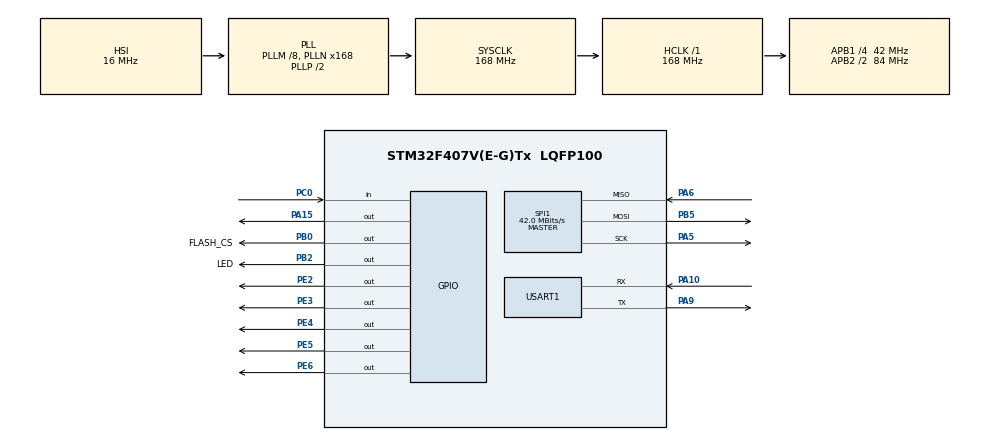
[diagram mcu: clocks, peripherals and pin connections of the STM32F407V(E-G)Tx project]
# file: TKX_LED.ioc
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FREERTOS.Tasks01=defaultTask,24,128,StartDefaultTask,Default,NULL,Dynamic,NULL,NULL
Mcu.Family=STM32F4
Mcu.Name=STM32F407V(E-G)Tx
Mcu.Package=LQFP100
NVIC.PriorityGroup=NVIC_PRIORITYGROUP_4
PA10.Mode=Asynchronous
PA10.Signal=USART1_RX
PA13.Mode=Serial_Wire
PA13.Signal=SYS_JTMS-SWDIO
PA14.Mode=Serial_Wire
PA14.Signal=SYS_JTCK-SWCLK
PA15.Signal=GPIO_Output
PA5.Mode=Full_Duplex_Master
PA5.Signal=SPI1_SCK
PA6.Mode=Full_Duplex_Master
PA6.Signal=SPI1_MISO
PA9.Mode=Asynchronous
PA9.Signal=USART1_TX
PB0.GPIO_Label=FLASH_CS
PB0.Signal=GPIO_Output
PB2.GPIO_Label=LED
PB2.GPIO_Speed=GPIO_SPEED_FREQ_LOW
PB2.PinState=GPIO_PIN_RESET
PB2.Signal=GPIO_Output
PB5.Mode=Full_Duplex_Master
PB5.Signal=SPI1_MOSI
PC0.Signal=GPIO_Input
PE2.GPIO_Speed=GPIO_SPEED_FREQ_VERY_HIGH
PE2.Signal=GPIO_Output
PE3.GPIO_Speed=GPIO_SPEED_FREQ_VERY_HIGH
PE3.Signal=GPIO_Output
PE4.GPIO_Speed=GPIO_SPEED_FREQ_VERY_HIGH
PE4.Signal=GPIO_Output
PE5.GPIO_Speed=GPIO_SPEED_FREQ_VERY_HIGH
PE5.Signal=GPIO_Output
PE6.GPIO_Speed=GPIO_SPEED_FREQ_VERY_HIGH
PE6.Signal=GPIO_Output
PH0-OSC_IN.Mode=HSE-External-Oscillator
PH0-OSC_IN.Signal=RCC_OSC_IN
PH1-OSC_OUT.Mode=HSE-External-Oscillator
PH1-OSC_OUT.Signal=RCC_OSC_OUT
ProjectManager.HeapSize=0x200
ProjectManager.StackSize=0x400
ProjectManager.TargetToolchain=MDK-ARM V5.32
RCC.48MHZClocksFreq_Value=84000000
RCC.AHBFreq_Value=168000000
RCC.APB1CLKDivider=RCC_HCLK_DIV4
RCC.APB1Freq_Value=42000000
RCC.APB1TimFreq_Value=84000000
RCC.APB2CLKDivider=RCC_HCLK_DIV2
RCC.APB2Freq_Value=84000000
RCC.APB2TimFreq_Value=168000000
RCC.CortexFreq_Value=168000000
RCC.HCLKFreq_Value=168000000
RCC.HSE_VALUE=8000000
RCC.HSI_VALUE=16000000
RCC.LSE_VALUE=32768
RCC.PLLM=8
RCC.PLLN=168
RCC.SYSCLKFreq_VALUE=168000000
RCC.SYSCLKSource=RCC_SYSCLKSOURCE_PLLCLK
RCC.VCOOutputFreq_Value=336000000
SPI1.CalculateBaudRate=42.0 MBits/s
SPI1.Direction=SPI_DIRECTION_2LINES
SPI1.Mode=SPI_MODE_MASTER
SPI1.VirtualType=VM_MASTER
USART1.VirtualMode=VM_ASYNC
VP_FREERTOS_VS_CMSIS_V2.Mode=CMSIS_V2
board=custom

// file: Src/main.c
/* USER CODE BEGIN Header */
/**
  ******************************************************************************
  * @file           : main.c
  * @brief          : Main program body
  ******************************************************************************
  * @attention
  *
  * Copyright (c) 2025 STMicroelectronics.
  * All rights reserved.
  *
  * This software is licensed under terms that can be found in the LICENSE file
  * in the root directory of this software component.
  * If no LICENSE file comes with this software, it is provided AS-IS.
  *
  ******************************************************************************
  */
/* USER CODE END Header */
#include "main.h"
#include "cmsis_os.h"
#include "spi.h"
#include "usart.h"
#include "gpio.h"

void SystemClock_Config(void);
void MX_FREERTOS_Init(void);

int main(void)
{

  /* MCU Configuration--------------------------------------------------------*/

  /* Reset of all peripherals, Initializes the Flash interface and the Systick. */
  HAL_Init();

  /* Configure the system clock */
  SystemClock_Config();

  /* Initialize all configured peripherals */
  MX_GPIO_Init();
  MX_USART1_UART_Init();
  MX_SPI1_Init();

  /* Init scheduler */
  osKernelInitialize();

  /* Call init function for freertos objects (in cmsis_os2.c) */
  MX_FREERTOS_Init();

  /* Start scheduler */
  osKernelStart();

  /* We should never get here as control is now taken by the scheduler */

  /* Infinite loop */
  while (1)
  {

  }
}

void SystemClock_Config(void)
{
  RCC_OscInitTypeDef RCC_OscInitStruct = {0};
  RCC_ClkInitTypeDef RCC_ClkInitStruct = {0};

  /** Configure the main internal regulator output voltage
  */
  __HAL_RCC_PWR_CLK_ENABLE();
  __HAL_PWR_VOLTAGESCALING_CONFIG(PWR_REGULATOR_VOLTAGE_SCALE1);

  /** Initializes the RCC Oscillators according to the specified parameters
  * in the RCC_OscInitTypeDef structure.
  */
  RCC_OscInitStruct.OscillatorType = RCC_OSCILLATORTYPE_HSI;
  RCC_OscInitStruct.HSIState = RCC_HSI_ON;
  RCC_OscInitStruct.HSICalibrationValue = RCC_HSICALIBRATION_DEFAULT;
  RCC_OscInitStruct.PLL.PLLState = RCC_PLL_ON;
  RCC_OscInitStruct.PLL.PLLSource = RCC_PLLSOURCE_HSI;
  RCC_OscInitStruct.PLL.PLLM = 8;
  RCC_OscInitStruct.PLL.PLLN = 168;
  RCC_OscInitStruct.PLL.PLLP = RCC_PLLP_DIV2;
  RCC_OscInitStruct.PLL.PLLQ = 4;
  if (HAL_RCC_OscConfig(&RCC_OscInitStruct) != HAL_OK)
  {
    Error_Handler();
  }

  /** Initializes the CPU, AHB and APB buses clocks
  */
  RCC_ClkInitStruct.ClockType = RCC_CLOCKTYPE_HCLK|RCC_CLOCKTYPE_SYSCLK
                              |RCC_CLOCKTYPE_PCLK1|RCC_CLOCKTYPE_PCLK2;
  RCC_ClkInitStruct.SYSCLKSource = RCC_SYSCLKSOURCE_PLLCLK;
  RCC_ClkInitStruct.AHBCLKDivider = RCC_SYSCLK_DIV1;
  RCC_ClkInitStruct.APB1CLKDivider = RCC_HCLK_DIV4;
  RCC_ClkInitStruct.APB2CLKDivider = RCC_HCLK_DIV2;

  if (HAL_RCC_ClockConfig(&RCC_ClkInitStruct, FLASH_LATENCY_5) != HAL_OK)
  {
    Error_Handler();
  }
}

void Error_Handler(void)
{
  __disable_irq();
  while (1)
  {
  }
}

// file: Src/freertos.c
/* USER CODE BEGIN Header */
/**
  ******************************************************************************
  * File Name          : freertos.c
  * Description        : Code for freertos applications
  ******************************************************************************
  * @attention
  *
  * Copyright (c) 2025 STMicroelectronics.
  * All rights reserved.
  *
  * This software is licensed under terms that can be found in the LICENSE file
  * in the root directory of this software component.
  * If no LICENSE file comes with this software, it is provided AS-IS.
  *
  ******************************************************************************
  */
/* USER CODE END Header */

#include "FreeRTOS.h"
#include "task.h"
#include "main.h"
#include "cmsis_os.h"

/* USER CODE BEGIN Includes */
#include "74HC595.h"
#include "74HC165.h"

#include "w25flash.h"

/* USER CODE END Includes */

/* Definitions for defaultTask */
osThreadId_t defaultTaskHandle;
const osThreadAttr_t defaultTask_attributes = {
  .name = "defaultTask",
  .stack_size = 128 * 8,
  .priority = (osPriority_t) osPriorityNormal,
};

/* USER CODE BEGIN FunctionPrototypes */
void Flash_TestWrite(void);
void Flash_TestRead(void);
/* USER CODE END FunctionPrototypes */

void StartDefaultTask(void *argument);

void MX_FREERTOS_Init(void); /* (MISRA C 2004 rule 8.1) */

void MX_FREERTOS_Init(void) {

  /* Create the thread(s) */
  /* creation of defaultTask */
  defaultTaskHandle = osThreadNew(StartDefaultTask, NULL, &defaultTask_attributes);

}

void StartDefaultTask(void *argument)
{
  /* USER CODE BEGIN StartDefaultTask */
  HC595_Init(); // Initialize the 74HC595
  HC165_Init(); // Initialize the 74HC165
  uint8_t ioState[3] = {0}; // Buffer to store the state of the 74HC165
  uint16_t ID = Flash_ReadID(); // Read the ID of the flash memory
  printf("Flash ID: %04X\n", ID); // Print the ID

  printf("---------------------\r\n");
  printf("Erasing Block 0(256 pages)...\r\n");
  uint32_t globalAddr=0;
  Flash_EraseBlock64K(globalAddr);
  Flash_EraseBlock64K(1);
  printf("Block 0 is erased.\r\n");
  Flash_TestWrite(); // Test writing to flash memory
  Flash_TestRead(); // Test reading from flash memory
  /* Infinite loop */
  for(;;)
  {
    HAL_GPIO_TogglePin(LED_GPIO_Port, LED_Pin);
    HC595_ToggleIO(0); // Toggle the first IO
    HC595_ToggleIO(1); // Toggle the first IO
    HC595_ToggleIO(2); // Toggle the first IO
    HC595_ToggleIO(3); // Toggle the first IO
    HC595_ToggleIO(4); // Toggle the first IO
    // HC165_ReadMultiBytes(ioState, 3); // Read the state of the 74HC165
    // // printf("IO State: %02X %02X %02X\n", ioState[0], ioState[1], ioState[2]); // Print the state
    osDelay(100);
  }
  /* USER CODE END StartDefaultTask */
}

/* USER CODE BEGIN Application */

void Flash_TestWrite(void)
{
	uint8_t blobkNo = 0;
	uint16_t sectorNo = 0;
	uint16_t pageNo = 0;
	uint32_t memAddress = 0;

	printf("---------------------\r\n");
	//写入Page0两个字符串
	memAddress = Flash_Addr_byBlockSectorPage(blobkNo, sectorNo, pageNo);		//Page0的地址
	uint8_t	bufStr1[] = "Hello from beginning";
	uint16_t len = 1 + strlen("Hello from beginning"); 											//包括结束符'\0'
	Flash_WriteInPage(memAddress, bufStr1, len);   													//在Page0的起始位置写入数据
	printf("Write in Page0:0\r\n%s\r\n", bufStr1);

	uint8_t	bufStr2[]="Hello in page";
	len = 1 + strlen("Hello in page"); 																			//包括结束符'\0'
	Flash_WriteInPage(memAddress+100, bufStr2, len);   											//Page0内偏移100
	printf("Write in Page0:100\r\n%s\r\n", bufStr2);

	//写入Page1中0-255数字
	uint8_t	bufPage[FLASH_PAGE_SIZE];																				//EN25Q_PAGE_SIZE=256
	for (uint16_t i=0;i<FLASH_PAGE_SIZE;i++)
		bufPage[i] = i;																												//准备数据
	pageNo = 1; 																														//Page 1
	memAddress = Flash_Addr_byBlockSectorPage(blobkNo, sectorNo, pageNo);		//page1的地址
	Flash_WriteInPage(memAddress, bufPage, FLASH_PAGE_SIZE);   							//写一个Page
	printf("Write 0-255 in Page1\r\n");
	printf("---------------------\r\n");
}

//测试读取Page0 和 Page1的内容
void Flash_TestRead(void)
{
	uint8_t blobkNo=0;
	uint16_t sectorNo=0;
	uint16_t pageNo=0;

	printf("---------------------\r\n");
	//读取Page0
	uint8_t bufStr[50];																											//Page0读出的数据
	uint32_t memAddress = Flash_Addr_byBlockSectorPage(blobkNo, sectorNo,pageNo);
	Flash_ReadBytes(memAddress, bufStr, 50);																//读取50个字符
	printf("Read from Page0:0\r\n%s\r\n",bufStr);

	Flash_ReadBytes(memAddress+100, bufStr, 50);														//地址偏移100后的50个字字节
	printf("Read from Page0:100\r\n%s\r\n",bufStr);

	//读取Page1
	uint8_t	randData = 0;
	pageNo = 1;
	memAddress = Flash_Addr_byBlockSectorPage(blobkNo, sectorNo,pageNo);

	randData = Flash_ReadOneByte(memAddress+12);														//读取1个字节数据，页内地址偏移12
	printf("Page1[12] = %d\r\n",randData);

	randData = Flash_ReadOneByte(memAddress+136);														//页内地址偏移136
	printf("Page1[136] = %d\r\n",randData);

	randData = Flash_ReadOneByte(memAddress+210);														//页内地址偏移210
	printf("Page1[210] = %d\r\n",randData);
	printf("---------------------\r\n");
}
/* USER CODE END Application */
